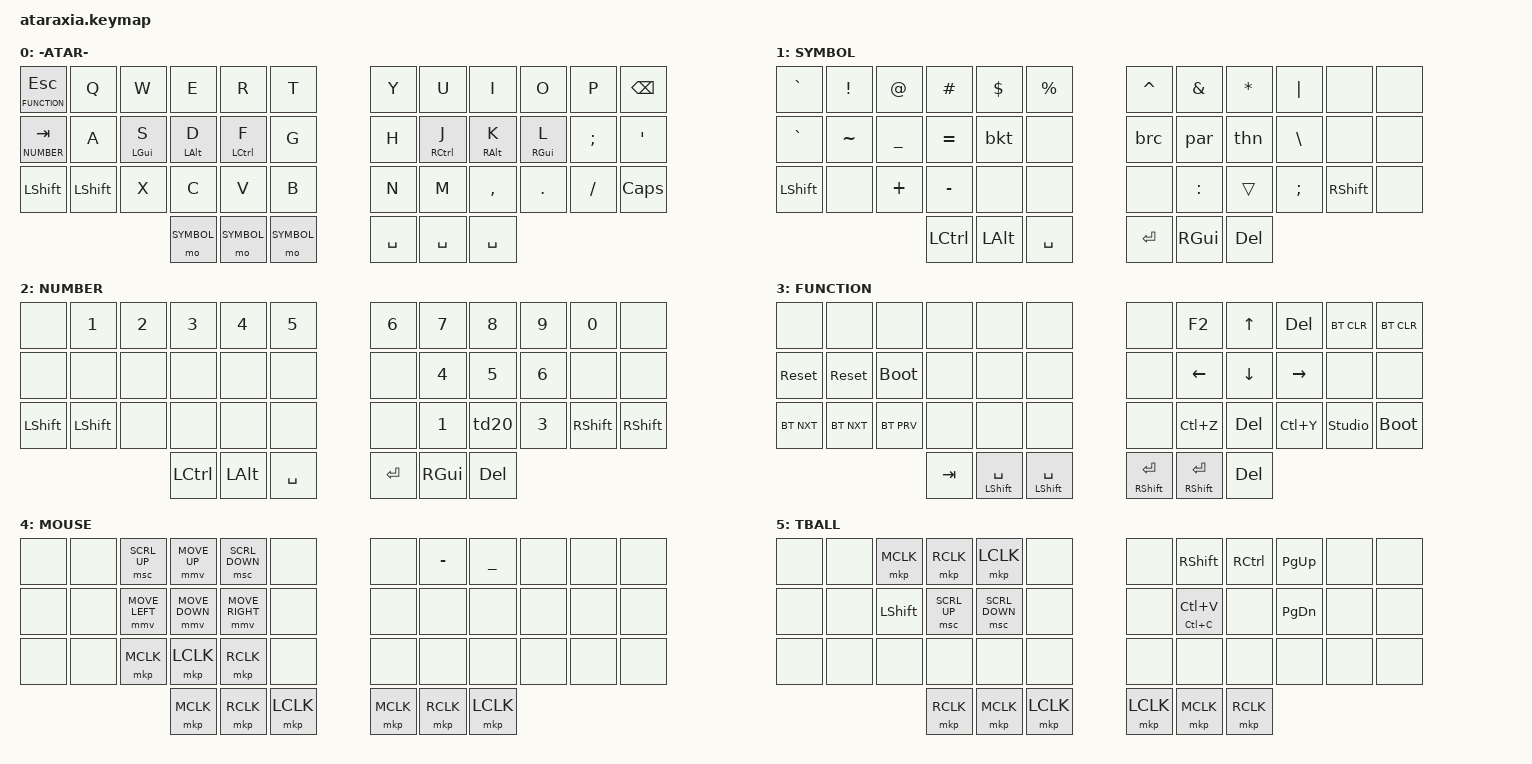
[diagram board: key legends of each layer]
/*
 * Copyright (c) 2025 miketronic
 * SPDX-License-Identifier: MIT
 * ataraxia v1 qwerty 5-column
 */

/*
 *
 * List of behaviors here > https://github.com/zmkfirmware/zmk/tree/main/app/dts/behaviors
 *
 *
 * #undef ZMK_BEHAVIORS_KEEP_ALL
 * #define ZMK_BEHAVIORS_KEEP_BT
 * #define ZMK_BEHAVIORS_KEEP_KP
 * #define ZMK_BEHAVIORS_KEEP_LT
 * #define ZMK_BEHAVIORS_KEEP_MKP
 * #define ZMK_BEHAVIORS_KEEP_MMV
 * #define ZMK_BEHAVIORS_KEEP_MSC
 * #define ZMK_BEHAVIORS_KEEP_MT
 * #define ZMK_BEHAVIORS_KEEP_NONE
 * #define ZMK_BEHAVIORS_KEEP_SK
 *
 *
 */




#define ZMK_POINTING_DEFAULT_MOVE_VAL 500
#define ZMK_POINTING_DEFAULT_SCRL_VAL 200

#include <behaviors.dtsi>
#include <input/processors.dtsi>
#include <dt-bindings/zmk/keys.h>
#include <dt-bindings/zmk/bt.h>
#include <dt-bindings/zmk/outputs.h>
#include <dt-bindings/zmk/pointing.h>


#define ALPHA       0
#define SYMBOL      1
#define NUMBER      2
#define FUNCTION    3
#define MOUSE       4
#define TBALL       5

#define CPST   &cccv LC(C) LC(V)
#define ESCFN  &lt FUNCTION ESC
#define QFN    &lt FUNCTION Q
#define NTAB   &lt NUMBER TAB
#define NUMA   &lt NUMBER A
#define SYMG   &lt SYMBOL G
#define MMSE   &lt MOUSE M
#define VBL    &lt TBALL V

#define LSPC   &mt LSHIFT SPC
#define RENT   &mt RSHIFT RET

#define LSHF    &kp LSHFT
#define RSHF    &kp RSHFT
#define RTCL    &kp RCTRL
#define COMM    &kp COMMA
#define GRV     &kp GRAVE
#define UND     &kp UNDER
#define MINS    &kp MINUS
#define UNDS    &kp UNDER
#define PGUP1   &kp PG_UP
#define PGDN1   &kp PG_DN

#define MM_U &mmv MOVE_UP
#define MM_D &mmv MOVE_DOWN
#define MM_R &mmv MOVE_RIGHT
#define MM_L &mmv MOVE_LEFT

#define MS_U &msc SCRL_UP
#define MS_D &msc SCRL_DOWN
#define MS_R &msc SCRL_RIGHT
#define MS_L &msc SCRL_LEFT

#define MCK  &mkp MCLK  
#define RCK  &mkp RCLK  
#define LCK  &mkp LCLK 

&mmv_input_listener {
        standard {
            layers = <MOUSE>;
            input-processors = <&zip_xy_scaler 3 1>;
        };
};

&mmv {
    x-input-code = <INPUT_REL_X>;
    y-input-code = <INPUT_REL_Y>;
    time-to-max-speed-ms = <200>;
    acceleration-exponent = <1>;
};

&mt {
    tapping-term-ms = <160>;
};

&lt {
    tapping-term-ms = <150>;
};


/ {

    combos {

        compatible = "zmk,combos";
        combo_bootloader {
            timeout-ms = <100>;
            key-positions = <0 11>;
            bindings = <&bootloader>;
        };
    };

    behaviors {

        bkt: tap_dance_bracket {
            compatible = "zmk,behavior-tap-dance";
            #binding-cells = <0>;
            tapping-term-ms = <200>;
            bindings = <&kp LBKT>, <&kp RBKT>;
        };

        brc: tap_dance_brace {
            compatible = "zmk,behavior-tap-dance";
            #binding-cells = <0>;
            tapping-term-ms = <200>;
            bindings = <&kp LBRC>, <&kp RBRC>;
        };

        par: tap_dance_paren {
            compatible = "zmk,behavior-tap-dance";
            #binding-cells = <0>;
            tapping-term-ms = <200>;
            bindings = <&kp LPAR>, <&kp RPAR>;
        };

        thn: tap_dance_then {
            compatible = "zmk,behavior-tap-dance";
            #binding-cells = <0>;
            tapping-term-ms = <200>;
            bindings = <&kp LT>, <&kp GT>;
        };

        td20: tap_dance_20 {
            compatible = "zmk,behavior-tap-dance";
            #binding-cells = <0>;
            tapping-term-ms = <240>;
            bindings = <&kp N2>, <&kp N0>;
        };

        delbsp: tap_dance_delbsp {
            compatible = "zmk,behavior-tap-dance";
            #binding-cells = <0>;
            tapping-term-ms = <240>;
            bindings = <&kp BSPC>, <&kp DEL>;
        };

        semqot: tap_dance_semqot {
            compatible = "zmk,behavior-tap-dance";
            #binding-cells = <0>;
            tapping-term-ms = <240>;
            bindings = <&kp SEMI>, <&kp QUOT>;
        };

        cccv: copy_paste {
           compatible = "zmk,behavior-hold-tap";
           #binding-cells = <2>;
           flavor = "hold-preferred";
           tapping-term-ms = <200>;
            bindings = <&kp>, <&kp>;
        };

        hrm: homerow_mods {
           compatible = "zmk,behavior-hold-tap";
           #binding-cells = <2>;
           tapping-term-ms = <250>;
           quick-tap-ms = <0>;
           flavor = "tap-preferred";
           bindings = <&kp>, <&kp>;

        };

    };



    keymap {
        compatible = "zmk,keymap";


        ALPHA_layer {
            display-name = "-ATAR-";  
            bindings = <
                ESCFN  &kp Q      &kp W       &kp E       &kp R        &kp T       &kp Y      &kp U        &kp I       &kp O       &kp P     &kp BSPC
                NTAB   &kp A      &mt LGUI S  &mt LALT D  &mt LCTRL F  &kp G       &kp H      &mt RCTRL J  &mt RALT K  &mt RGUI L  &kp SEMI  &kp QUOT
                LSHF   &kp LSHFT  &kp X       &kp C       &kp V        &kp B       &kp N      &kp M        &kp COMMA   &kp DOT     &kp FSLH  &kp CAPS
                                              &mo SYMBOL  &mo SYMBOL   &mo SYMBOL  &kp SPACE  &kp SPACE    &kp SPACE
            >;
        };

/*
        ALPHA_layer {
            display-name = "ATARAXIA";  
            bindings = <
                &kp A  &kp Q  &kp W  &kp E  &kp R  &kp T  &kp Y  &kp U  &kp I   &kp O   &kp P    &sys_reset
                &kp B  &kp A  &kp S  &kp D  &kp F  &kp G  &kp H  &kp J  &kp K   &kp L   &kp SEMI &kp Y
                &kp C  &kp Z  &kp X  &kp C  &kp V  &kp B  &kp N  &kp M  &kp COMMA  &kp DOT &kp FSLH &kp Z
                                &kp A &kp B &kp C  &kp D   &kp E &kp F
            >;
        };
*/
        SYMBOL_layer {
            display-name = "SYMBOL";  
            bindings = <
                GRV &kp EXCL  &kp AT  &kp HASH  &kp DLLR &kp PRCNT &kp CARET &kp AMPS &kp STAR &kp PIPE &none &none
                GRV &kp TILDE UND     &kp EQUAL &bkt     &none  &brc  &par      &thn   &kp BSLH &none &none
                LSHF  &none &kp PLUS  &kp MINUS &none    &none &none &kp COLON &trans &kp SEMI RSHF &none
                                 &kp LCTRL &kp LALT &kp SPACE  &kp RET   &kp RGUI &kp DEL
            >;
        };

        NUMBER_layer {
            display-name = "NUMBER";  
            bindings = <
                &none &kp N1 &kp N2 &kp N3 &kp N4 &kp N5 &kp N6 &kp N7 &kp N8 &kp N9 &kp N0 &none
                &none &none  &none  &none  &none  &none  &none  &kp N4 &kp N5 &kp N6 &none  &none
                LSHF  LSHF   &none  &none  &none  &none  &none  &kp N1 &td20  &kp N3 RSHF   RSHF 
                                 &kp LCTRL &kp LALT &kp SPACE  &kp RET   &kp RGUI &kp DEL
            >;
        };

        FUNCTION_layer {
            display-name = "FUNCTION";  
            bindings = <
                &none       &none  &none  &none  &none  &none  &none  &kp F2   &kp UP   &kp DEL   &bt BT_CLR &bt BT_CLR
                &sys_reset  &sys_reset  &bootloader &none  &none  &none  &none  &kp LEFT &kp DOWN &kp RIGHT &none &none
                &bt BT_NXT  &bt BT_NXT  &bt BT_PRV  &none  &none  &none  &none &kp LC(Z) &kp DEL &kp LC(Y) &studio_unlock &bootloader
                                    &kp TAB LSPC LSPC  RENT    RENT &kp DEL
            >;
        };

        MOUSE_layer {
            display-name = "MOUSE";  
            bindings = <
                &none  &none  MS_U  MM_U  MS_D  &none  &none  MINS   UNDS   &none &none &none
                &none  &none  MM_L  MM_D  MM_R  &none  &none  &none  &none  &none &none &none
                &none  &none  MCK   LCK   RCK   &none  &none  &none  &none  &none &none &none  
                                           MCK  RCK  LCK     MCK  RCK  LCK
            >;
        };

        TBALL_layer {
            display-name = "TBALL";  
            bindings = <
                &none  &none  MCK    RCK    LCK   &none  &none  RSHF   RTCL   PGUP1 &none &none
                &none  &none  LSHF   MS_U   MS_D  &none  &none  CPST   &none  PGDN1 &none &none
                &none  &none  &none  &none  &none &none  &none  &none  &none  &none &none &none  
                              RCK    MCK    LCK                 LCK  MCK  RCK
            >;
        };

        extra1 {
            status = "reserved";
        };

        extra2 {
            status = "reserved";
        };

        extra3 {
            status = "reserved";
        };

        extra4 {
            status = "reserved";
        };

    };
};
